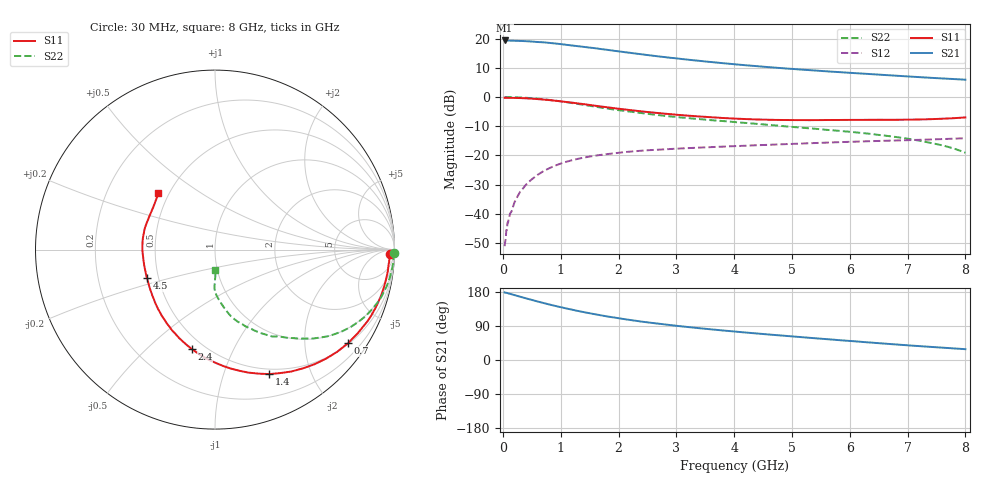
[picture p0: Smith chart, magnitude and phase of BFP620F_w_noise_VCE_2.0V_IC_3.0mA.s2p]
! Infineon Technologies  Discrete & RF Semiconductors
! BFP620F
! VCE =  2.0 V,  IC =  3.0 mA
! Common Emitter S-Parameters:  Dec 2014
# GHz  S  MA  R  50
!  f  S11  S21  S12  S22
! GHz  MAG  ANG  MAG  ANG  MAG  ANG  MAG  ANG
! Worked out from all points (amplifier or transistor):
!   95 points, 30 MHz to 8 GHz, reference 50 ohm
!   highest |S21| = 19.4 dB at 30 MHz (marker M1)
!   |S21| within 3 dB of that: start of sweep to 1.721 GHz
!   unconditionally stable (mu >= 1): 6.023 GHz to end of sweep
!   at 300 MHz: K = 0.04, MSG = 25.8 dB, |S12| = -32.4 dB
!   at 3.3 GHz: K = 0.69, MSG = 15.0 dB, |S12| = -17.4 dB
!   at 8 GHz: K = 1.15, MAG = 7.6 dB, |S12| = -14.1 dB
!   lowest NFmin = 0.51 dB at 450 MHz
!   S11 on the Smith chart (normalised r, x): 30 MHz: 41, -36; 700 MHz: 0.53, -3.09; 1.4 GHz: 0.44, -1.43; 2.4 GHz: 0.43, -0.70; 4.5 GHz: 0.43, -0.17; 8 GHz: 0.44, +0.35
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0.03  0.9726 -1.4  9.314 178.3  0.0028 83.2  0.9972 -1.1
0.04  0.9732 -1.9  9.212 177.8  0.0033 85.1  0.9966 -1.5
0.08  0.9732 -4.1  9.286 176.4  0.0071 91.8  0.9956 -2.8
0.25  0.9642 -12.6  9.182 169.1  0.0196 82.3  0.9874 -8.6
0.45  0.9454 -22.7  9.001 160.6  0.0353 77.4  0.9652 -15.5
0.7  0.9066 -35.0  8.655 150.5  0.0538 70.4  0.9185 -23.7
0.9  0.8671 -44.5  8.278 142.9  0.0668 65.0  0.8703 -29.7
1  0.8456 -49.1  8.067 139.4  0.0726 62.3  0.8442 -32.5
1.2  0.8016 -57.9  7.624 132.7  0.0832 57.6  0.7894 -37.8
1.4  0.7563 -66.5  7.229 126.4  0.0919 53.5  0.736 -42.3
1.6  0.7102 -74.8  6.855 120.5  0.0993 49.8  0.6836 -46.5
1.9  0.6499 -86.0  6.246 112.7  0.1083 45.2  0.6156 -52.3
2.2  0.5987 -96.6  5.72 105.6  0.1164 41.3  0.5636 -58.1
2.4  0.5686 -103.2  5.401 101.3  0.1208 38.9  0.5322 -61.1
2.7  0.5313 -112.2  4.959 95.7  0.1258 36.3  0.489 -65.1
3  0.4981 -120.9  4.6 90.3  0.1308 34.1  0.4561 -68.7
3.4  0.4647 -131.3  4.171 83.9  0.1365 31.6  0.4194 -72.7
4.1  0.4243 -148.1  3.576 73.8  0.1456 28.4  0.3669 -77.8
4.5  0.4112 -157.2  3.311 68.6  0.151 26.7  0.3411 -80.0
5.4  0.4031 -176.0  2.848 57.4  0.1633 23.4  0.2868 -84.9
6.7  0.4083 158.7  2.355 42.1  0.1795 18.5  0.2131 -90.8
8  0.4481 134.9  1.982 28.5  0.1973 14.5  0.1115 -89.2
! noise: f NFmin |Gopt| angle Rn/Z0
0.45  0.51  0.54  10  0.3
0.9  0.6  0.52  20  0.26
1.5  0.69  0.47  29  0.25
1.8  0.73  0.45  32  0.25
1.9  0.74  0.4  43  0.26
2.4  0.81  0.37  57  0.24
3.5  0.96  0.35  80  0.18
5.5  1.2  0.23  149  0.15
6  1.26  0.19  163  0.29
